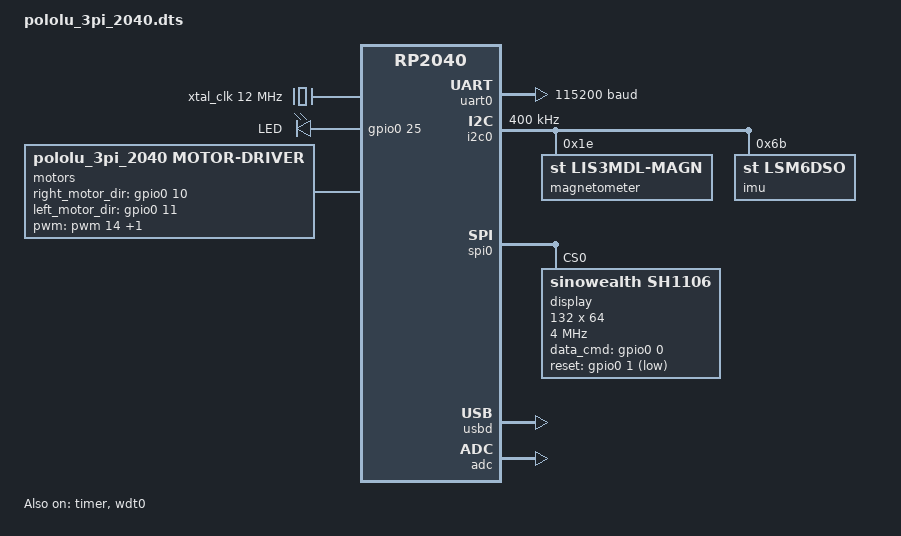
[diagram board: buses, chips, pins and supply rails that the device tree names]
/dts-v1/;

#include <freq.h>
#include <rpi_pico/rp2040.dtsi>
#include <rpi_pico/rp2040.dtsi>
#include <zephyr/dt-bindings/gpio/gpio.h>
#include <zephyr/dt-bindings/pwm/pwm.h>
#include "pololu_3pi_2040-pinctrl.dtsi"

/{
    compatible = "pololu_3pi_2040";

    chosen {
		zephyr,sram = &sram0;
		zephyr,flash = &flash0;
		zephyr,flash-controller = &ssi;
		zephyr,console = &uart0;
		zephyr,shell-uart = &uart0;
		zephyr,code-partition = &code_partition;
	};

    aliases {
        mag = &magnetometer;
        imu = &imu;
        watchdog = &wdt0;
        led0 = &led0;
    };

	xtal_clk: xtal-clk {
		compatible = "fixed-clock";
		clock-frequency = <12000000>;
		#clock-cells = <0>;
	};

    leds {
		compatible = "gpio-leds";
		led0: led_0 {
			gpios = <&gpio0 25 GPIO_ACTIVE_HIGH>;
			label = "LED";
		};
	};

    motors:motors {
        compatible = "pololu_3pi_2040,motor-driver";

        right_motor_dir = <&gpio0 10 (GPIO_ACTIVE_HIGH)>;
        left_motor_dir = <&gpio0 11 (GPIO_ACTIVE_HIGH)>;

        pwms = <&pwm 14 PWM_MSEC(1) PWM_POLARITY_NORMAL>,
               <&pwm 15 PWM_MSEC(1) PWM_POLARITY_NORMAL>;
        pwm-names = "right_motor", "left_motor";

        maxpower = <0x0FFF>;
    };
};

&flash0 {
	reg = <0x10000000 DT_SIZE_M(2)>;

	partitions {
		compatible = "fixed-partitions";
		#address-cells = <1>;
		#size-cells = <1>;

		/* Reserved memory for the second stage bootloader */
		second_stage_bootloader: partition@0 {
			label = "second_stage_bootloader";
			reg = <0x00000000 0x100>;
			read-only;
		};

		/*
		 * Usable flash. Starts at 0x100, after the bootloader. The partition
		 * size is 2MB minus the 0x100 bytes taken by the bootloader.
		 */
		code_partition: partition@100 {
			label = "code-partition";
			reg = <0x100 (DT_SIZE_M(2) - 0x100)>;
			read-only;
		};
	};
};

&uart0 {
	current-speed = <115200>;
	status = "okay";
	pinctrl-0 = <&uart0_default>;
	pinctrl-names = "default";
};

&gpio0 {
	status = "okay";
};

&i2c0 {
    status = "okay";
    pinctrl-0 = <&i2c0_default>;
    pinctrl-names = "default";
    clock-frequency = <I2C_BITRATE_FAST>;

    magnetometer: lis3mdl-magn@1e {
        compatible = "st,lis3mdl-magn";
        reg = <0x1e>;
    };

    imu: lsm6dso@6b {
        compatible = "st,lsm6dso";
        reg = <0x6b>;
    };
};

&spi0 {
    status = "okay";
    pinctrl-0 = <&spi0_default>;
    pinctrl-names = "default"; 

    display: sh1106@0 {
        compatible = "sinowealth,sh1106";
        reg = <0>;
        spi-max-frequency = <4000000>; // Boosted to 4MHz

        data_cmd-gpios = <&gpio0 0 GPIO_ACTIVE_HIGH>;
        reset-gpios = <&gpio0 1 GPIO_ACTIVE_LOW>;

        segment-offset = <2>; 
        page-offset = <0>;
        display-offset = <0>;
        multiplex-ratio = <63>;
        prechargep = <0x22>;

        width = <132>;
        height = <64>;
    };
};

&pio0 {
    #address-cells = <1>;
    #size-cells = <0>;

    status = "okay";
    compatible = "pololu_3pi_2040,pio-common";
    pinctrl-0 = <&pio0_quadrature_encoder>;
    pinctrl-names = "default"; 

    encoders: encoders@0 {
        compatible = "pololu_3pi_2040,pio-encoders";
        reg = <0>;
        encoder-r = <&gpio0 8 GPIO_ACTIVE_HIGH>, <&gpio0 9 GPIO_ACTIVE_HIGH>;
        encoder-l = <&gpio0 12 GPIO_ACTIVE_HIGH>, <&gpio0 13 GPIO_ACTIVE_HIGH>;
    };
};

&pio1 {
    #address-cells = <1>;
    #size-cells = <0>;

    status = "okay";
    compatible = "pololu_3pi_2040,pio-common";
    pinctrl-0 = <&pio1_qtr_sensor>;
    pinctrl-name = "default";

    line_sensors:line_sensors@0{
        compatible = "pololu_3pi_2040,pio-line_sensors";
        reg = <0>;
        #gpio-cells = <2>;
        base-pin = <18>;
        ngpios = <5>; 
    };

    bump_sensors:bump_sensors@1{
        compatible = "pololu_3pi_2040,pio-bump_sensors";
        reg = <1>;
        #gpio-cells = <2>;
        bump-r = <&gpio0 16 (GPIO_ACTIVE_HIGH)>;
        bump-l = <&gpio0 17 (GPIO_ACTIVE_HIGH)>;
    };
};

zephyr_udc0: &usbd {
	status = "okay";
};

&timer {
	status = "okay";
};

&wdt0 {
	status = "okay";
};

&adc {
	status = "okay";
	pinctrl-0 = <&adc_default>;
	pinctrl-names = "default";
};

&pwm {
	pinctrl-0 = <&pwm_motors>;
	pinctrl-names = "default";
	divider-int-0 = <255>;
};

&vreg {
	regulator-always-on;
	regulator-allowed-modes = <REGULATOR_RPI_PICO_MODE_NORMAL>;
};
